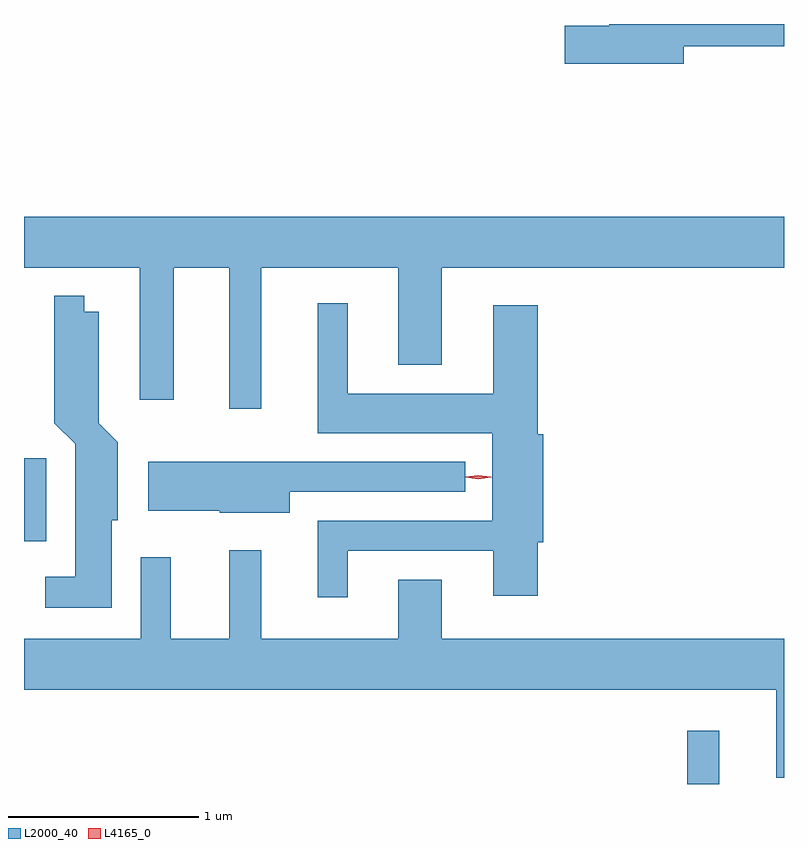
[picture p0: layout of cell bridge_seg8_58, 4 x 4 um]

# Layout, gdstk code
import gdstk
lib = gdstk.Library(unit=1e-6, precision=1e-09)
def R(c, l, rs):  # rectangles x0, y0, x1, y1
    for r in rs: c.add(gdstk.rectangle(r[:2], r[2:], *l))
def P(c, l, *ps):  # polygons
    for p in ps: c.add(gdstk.Polygon(p, *l))
L2000_40 = (2000, 40)
L4165_0 = (4165, 0)

bridge_seg8_58 = lib.new_cell('bridge_seg8_58')
R(bridge_seg8_58, L2000_40, [(1571.591,1902.519,1571.759,1902.798), (1568.101,1903.796,1568.219,1904.233)])
P(bridge_seg8_58, L2000_40, [(1571.574,1906.401),(1572.101,1906.401),(1572.101,1906.519),(1571.181,1906.519),(1571.181,1906.509),(1570.946,1906.509),(1570.946,1906.311),(1571.574,1906.311)],
  [(1569.349,1905.236),(1570.071,1905.236),(1570.071,1904.726),(1570.299,1904.726),(1570.299,1905.236),(1572.101,1905.236),(1572.101,1905.504),(1568.101,1905.504),(1568.101,1905.236),(1568.711,1905.236),(1568.711,1904.541),(1568.889,1904.541),(1568.889,1905.236),(1569.181,1905.236),(1569.181,1904.493),(1569.349,1904.493)],
  [(1568.564,1903.906),(1568.594,1903.906),(1568.594,1904.317),(1568.494,1904.417),(1568.494,1905.004),(1568.419,1905.004),(1568.419,1905.088),(1568.261,1905.088),(1568.261,1904.419),(1568.371,1904.309),(1568.371,1903.609),(1568.213,1903.609),(1568.213,1903.446),(1568.564,1903.446)],
  [(1569.804,1903.746),(1570.571,1903.746),(1570.571,1903.511),(1570.804,1903.511),(1570.804,1903.791),(1570.834,1903.791),(1570.834,1904.359),(1570.804,1904.359),(1570.804,1905.039),(1570.571,1905.039),(1570.571,1904.574),(1569.804,1904.574),(1569.804,1905.048),(1569.646,1905.048),(1569.646,1904.366),(1570.566,1904.366),(1570.566,1903.904),(1569.646,1903.904),(1569.646,1903.503),(1569.804,1903.503)],
  [(1569.499,1904.056),(1570.423,1904.056),(1570.423,1904.214),(1568.756,1904.214),(1568.756,1903.956),(1569.13,1903.956),(1569.13,1903.946),(1569.499,1903.946)],
  [(1572.101,1903.284),(1570.299,1903.284),(1570.299,1903.594),(1570.071,1903.594),(1570.071,1903.284),(1569.349,1903.284),(1569.349,1903.748),(1569.181,1903.748),(1569.181,1903.284),(1568.874,1903.284),(1568.874,1903.713),(1568.716,1903.713),(1568.716,1903.284),(1568.101,1903.284),(1568.101,1903.016),(1572.061,1903.016),(1572.061,1902.553),(1572.101,1902.553)])
P(bridge_seg8_58, L4165_0, [(1570.493,1904.124),(1570.424,1904.134),(1570.424,1904.134),(1570.424,1904.134),(1570.493,1904.144),(1570.561,1904.134),(1570.562,1904.134),(1570.561,1904.134)],
  [(1570.492,1904.125),(1570.427,1904.135),(1570.427,1904.135),(1570.427,1904.136),(1570.492,1904.145),(1570.557,1904.136),(1570.557,1904.135),(1570.557,1904.135)])

lib.write_gds('bridge_seg8_58.gds')
